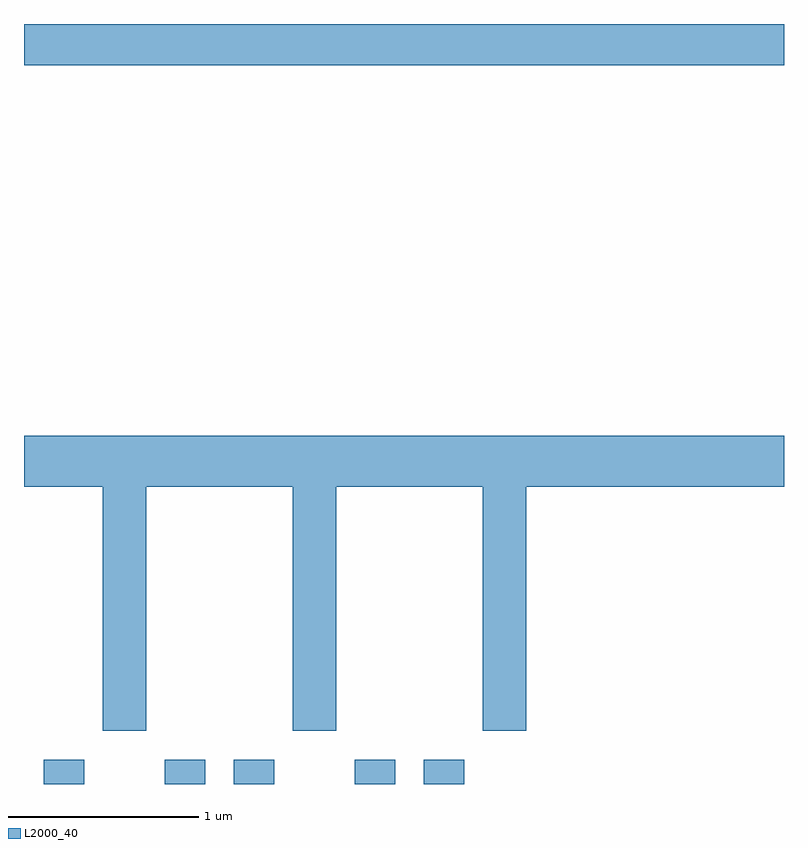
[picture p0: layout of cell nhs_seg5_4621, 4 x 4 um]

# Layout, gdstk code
import gdstk
lib = gdstk.Library(unit=1e-6, precision=1e-09)
def R(c, l, rs):  # rectangles x0, y0, x1, y1
    for r in rs: c.add(gdstk.rectangle(r[:2], r[2:], *l))
def P(c, l, *ps):  # polygons
    for p in ps: c.add(gdstk.Polygon(p, *l))
L2000_40 = (2000, 40)

nhs_seg5_4621 = lib.new_cell('nhs_seg5_4621')
R(nhs_seg5_4621, L2000_40, [(321.716,1504.072,321.929,1504.199), (322.351,1504.072,322.564,1504.199), (322.716,1504.072,322.929,1504.199), (323.351,1504.072,323.564,1504.199), (323.716,1504.072,323.929,1504.199), (321.611,1507.856,325.611,1508.072)])
P(nhs_seg5_4621, L2000_40, [(321.611,1505.636),(322.026,1505.636),(322.026,1504.351),(322.254,1504.351),(322.254,1505.636),(323.026,1505.636),(323.026,1504.351),(323.254,1504.351),(323.254,1505.636),(324.026,1505.636),(324.026,1504.351),(324.254,1504.351),(324.254,1505.636),(325.611,1505.636),(325.611,1505.904),(321.611,1505.904)])

lib.write_gds('nhs_seg5_4621.gds')
